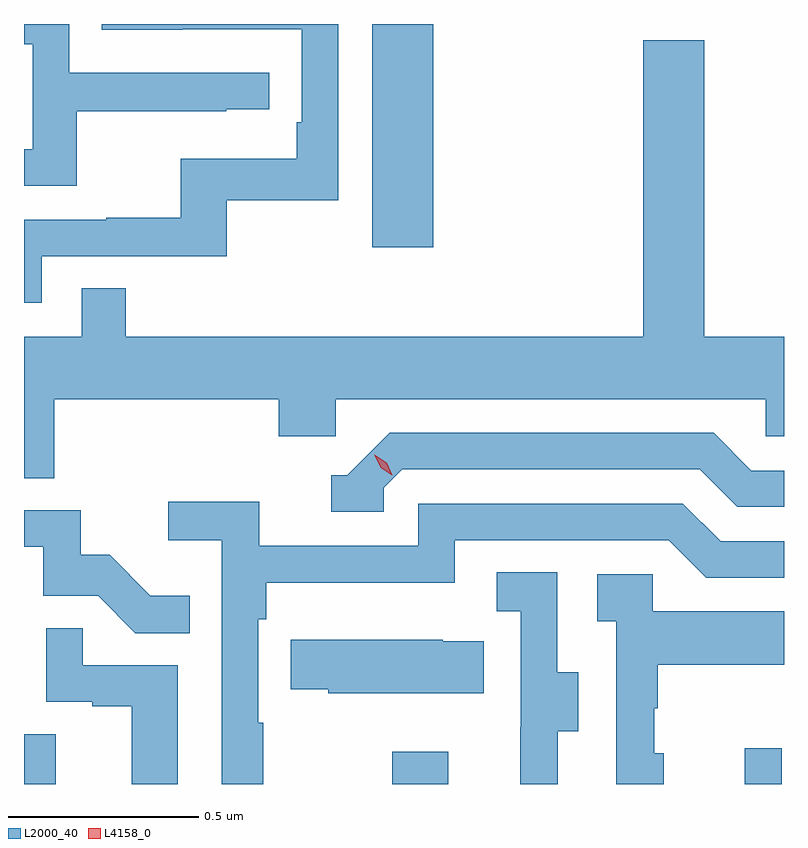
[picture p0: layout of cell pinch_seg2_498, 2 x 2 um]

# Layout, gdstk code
import gdstk
lib = gdstk.Library(unit=1e-6, precision=1e-09)
def R(c, l, rs):  # rectangles x0, y0, x1, y1
    for r in rs: c.add(gdstk.rectangle(r[:2], r[2:], *l))
def P(c, l, *ps):  # polygons
    for p in ps: c.add(gdstk.Polygon(p, *l))
L2000_40 = (2000, 40)
L4158_0 = (4158, 0)

pinch_seg2_498 = lib.new_cell('pinch_seg2_498')
R(pinch_seg2_498, L2000_40, [(924.541,601.335,924.625,601.466), (925.51,601.335,925.657,601.42), (926.438,601.335,926.535,601.429), (925.457,602.748,925.618,603.335)])
P(pinch_seg2_498, L2000_40, [(924.68,603.106),(925.073,603.106),(925.073,603.111),(925.186,603.111),(925.186,603.207),(924.66,603.207),(924.66,603.335),(924.541,603.335),(924.541,603.282),(924.564,603.282),(924.564,603.006),(924.541,603.006),(924.541,602.91),(924.68,602.91)],
  [(924.588,602.724),(925.075,602.724),(925.075,602.871),(925.368,602.871),(925.368,603.335),(924.745,603.335),(924.745,603.32),(924.959,603.32),(924.959,603.321),(925.272,603.321),(925.272,603.076),(925.259,603.076),(925.259,602.98),(924.954,602.98),(924.954,602.825),(924.757,602.825),(924.757,602.82),(924.541,602.82),(924.541,602.601),(924.588,602.601)],
  [(924.541,602.14),(924.62,602.14),(924.62,602.348),(925.211,602.348),(925.211,602.25),(925.362,602.25),(925.362,602.348),(926.493,602.348),(926.493,602.25),(926.541,602.25),(926.541,602.512),(926.331,602.512),(926.331,603.292),(926.171,603.292),(926.171,602.512),(924.809,602.512),(924.809,602.639),(924.693,602.639),(924.693,602.512),(924.541,602.512)],
  [(925.488,602.115),(925.536,602.163),(926.319,602.163),(926.418,602.064),(926.541,602.064),(926.541,602.16),(926.455,602.16),(926.356,602.259),(925.503,602.259),(925.392,602.148),(925.349,602.148),(925.349,602.052),(925.488,602.052)],
  [(925.171,601.496),(925.158,601.496),(925.158,601.769),(925.178,601.769),(925.178,601.865),(925.674,601.865),(925.674,601.977),(926.238,601.977),(926.337,601.878),(926.541,601.878),(926.541,601.974),(926.374,601.974),(926.275,602.073),(925.578,602.073),(925.578,601.962),(925.16,601.962),(925.16,602.078),(924.921,602.078),(924.921,601.976),(925.062,601.976),(925.062,601.335),(925.171,601.335)],
  [(924.977,601.831),(924.873,601.831),(924.766,601.938),(924.69,601.938),(924.69,602.055),(924.541,602.055),(924.541,601.959),(924.591,601.959),(924.591,601.83),(924.736,601.83),(924.834,601.732),(924.977,601.732)],
  [(925.945,601.474),(925.999,601.474),(925.999,601.629),(925.944,601.629),(925.944,601.892),(925.785,601.892),(925.785,601.789),(925.848,601.789),(925.848,601.485),(925.847,601.485),(925.847,601.335),(925.945,601.335)],
  [(926.224,601.416),(926.199,601.416),(926.199,601.535),(926.209,601.535),(926.209,601.649),(926.541,601.649),(926.541,601.789),(926.196,601.789),(926.196,601.887),(926.049,601.887),(926.049,601.763),(926.1,601.763),(926.1,601.335),(926.224,601.335)],
  [(924.946,601.647),(924.695,601.647),(924.695,601.745),(924.6,601.745),(924.6,601.551),(924.721,601.551),(924.721,601.539),(924.824,601.539),(924.824,601.335),(924.946,601.335)],
  [(925.751,601.711),(925.643,601.711),(925.643,601.714),(925.243,601.714),(925.243,601.585),(925.341,601.585),(925.341,601.574),(925.751,601.574)])
P(pinch_seg2_498, L4158_0, [(925.51,602.147),(925.48,602.167),(925.464,602.2),(925.464,602.201),(925.464,602.201),(925.495,602.18),(925.51,602.148),(925.51,602.147)])

lib.write_gds('pinch_seg2_498.gds')
